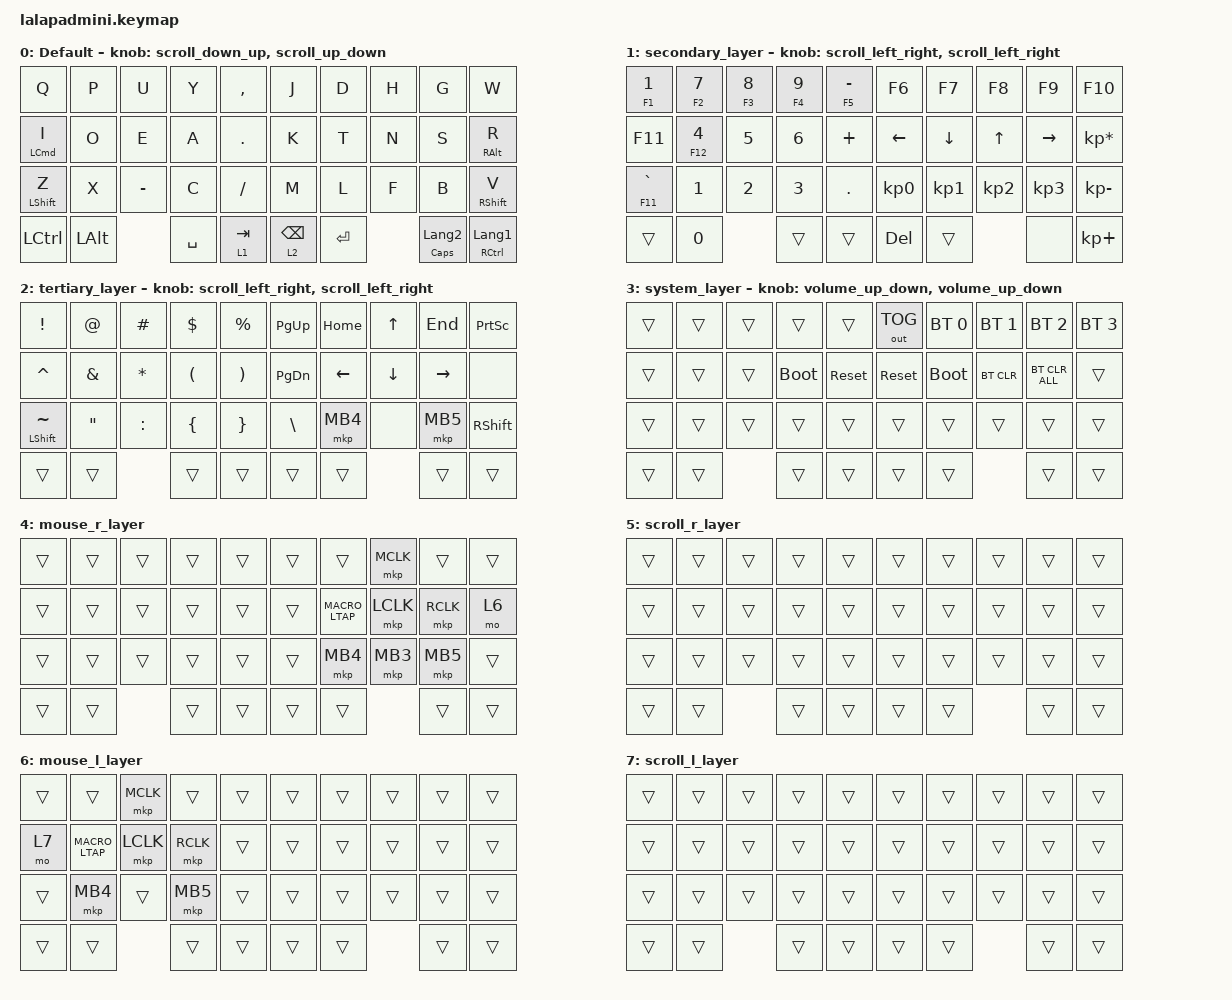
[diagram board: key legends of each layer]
#include <input/processors.dtsi>
#include <behaviors.dtsi>
#include <dt-bindings/zmk/bt.h>
#include <dt-bindings/zmk/keys.h>
#include <dt-bindings/zmk/outputs.h>
#include <dt-bindings/zmk/pointing.h>

#define DEFAULT_LAYER   0
#define SECONDARY_LAYER 1
#define TERTIARY_LAYER  2
#define SYSTEM_LAYER    3
#define MOUSE_R_LAYER   4
#define SCROLL_R_LAYER  5
#define MOUSE_L_LAYER   6
#define SCROLL_L_LAYER  7

// Mouse Scroll Value

#define ZMK_POINTING_DEFAULT_SCRL_VAL 100

// cirque trackpad input&layer control

&glidepoint_listener_R {
    input-processors =
        <&zip_xy_transform (INPUT_TRANSFORM_XY_SWAP | INPUT_TRANSFORM_X_INVERT | INPUT_TRANSFORM_Y_INVERT)>,
        <&zip_xy_scaler 4 2>,
        <&zip_temp_layer MOUSE_R_LAYER 300>;

    lowspeedmode {
        layers = <SECONDARY_LAYER>;
        input-processors =
            <&zip_xy_transform (INPUT_TRANSFORM_XY_SWAP | INPUT_TRANSFORM_X_INVERT | INPUT_TRANSFORM_Y_INVERT)>,
            <&zip_xy_scaler 3 5>,
            <&zip_temp_layer MOUSE_R_LAYER 300>;
    };

    scroller {
        layers = <SCROLL_R_LAYER>;
        input-processors =
            <&zip_xy_to_scroll_mapper>,
            <&zip_scroll_transform (INPUT_TRANSFORM_XY_SWAP | INPUT_TRANSFORM_Y_INVERT)>,
            <&zip_scroll_scaler 1 32>;
    };
};

&glidepoint_listener_L {
    input-processors =
        <&zip_xy_transform (INPUT_TRANSFORM_XY_SWAP | INPUT_TRANSFORM_X_INVERT | INPUT_TRANSFORM_Y_INVERT)>,
        <&zip_xy_scaler 3 2>,
        <&zip_temp_layer MOUSE_L_LAYER 300>;

    lowspeedmode {
        layers = <TERTIARY_LAYER>;
        input-processors =
            <&zip_xy_transform (INPUT_TRANSFORM_XY_SWAP | INPUT_TRANSFORM_X_INVERT | INPUT_TRANSFORM_Y_INVERT)>,
            <&zip_xy_scaler 3 4>,
            <&zip_temp_layer MOUSE_L_LAYER 300>;
    };

    scroller {
        layers = <SCROLL_L_LAYER>;
        input-processors =
            <&zip_xy_to_scroll_mapper>,
            <&zip_scroll_transform (INPUT_TRANSFORM_XY_SWAP | INPUT_TRANSFORM_Y_INVERT)>,
            <&zip_scroll_scaler 1 32>;
    };
};

&mt { 
    quick-tap-ms = <200>;
    tapping-term-ms = <400>;
};

&lt { quick-tap-ms = <200>; };

/ {
    behaviors {
        // Encoder to Mouse Scroll

        scroll_up_down: behavior_sensor_rotate_mouse_wheel_up_down {
            compatible = "zmk,behavior-sensor-rotate";
            #sensor-binding-cells = <0>;
            bindings = <&msc SCRL_UP>, <&msc SCRL_DOWN>;

            tap-ms = <20>;
        };

        scroll_down_up: behavior_sensor_rotate_mouse_wheel_down_up {
            compatible = "zmk,behavior-sensor-rotate";
            #sensor-binding-cells = <0>;
            bindings = <&msc SCRL_DOWN>, <&msc SCRL_UP>;

            tap-ms = <20>;
        };

        scroll_left_right: behavior_sensor_rotate_mouse_wheel_left_right {
            compatible = "zmk,behavior-sensor-rotate";
            #sensor-binding-cells = <0>;
            bindings = <&msc SCRL_LEFT>, <&msc SCRL_RIGHT>;

            tap-ms = <20>;
        };

        scroll_right_left: behavior_sensor_rotate_mouse_wheel_right_left {
            compatible = "zmk,behavior-sensor-rotate";
            #sensor-binding-cells = <0>;
            bindings = <&msc SCRL_RIGHT>, <&msc SCRL_LEFT>;

            tap-ms = <20>;
        };

        volume_up_down: behavior_sensor_rotate_volume_up_down {
            compatible = "zmk,behavior-sensor-rotate";
            #sensor-binding-cells = <0>;
            bindings = <&kp C_VOLUME_UP>, <&kp C_VOLUME_DOWN>;

            tap-ms = <20>;
        };

        mt2: mod_tap2 {
            compatible = "zmk,behavior-hold-tap";
            #binding-cells = <2>;
            flavor = "tap-preferred";
            tapping-term-ms = <400>;
            quick-tap-ms = <200>;
            require-prior-idle-ms = <125>;
            bindings = <&kp>, <&kp>;
        };

        tap_dance_layer_1and2: tap_dance_layer_1and2 {
            compatible = "zmk,behavior-tap-dance";
            label = "td_mo12";
            #binding-cells = <0>;
            bindings = <&mo 1>, <&mo 2>;
        };
    };

    combos {
        compatible = "zmk,combos";

        CONBO_ESC {
            bindings = <&kp ESCAPE>;
            key-positions = <0 1>;
        };

        COMBO_TAB {
            bindings = <&kp TAB>;
            key-positions = <10 11>;
        };

        COMBO_WIN {
            bindings = <&kp LWIN>;
            key-positions = <30 31>;
        };
    };

    macros {
        MACRO_LTAP: MACRO_LTAP {
            compatible = "zmk,behavior-macro";
            #binding-cells = <0>;
            bindings = <&mkp LCLK>;
            label = "MACRO_LTAP";
        };
    };

    keymap {
        compatible = "zmk,keymap";

        DEFAULT_LAYER {
            display-name = "Default";
            sensor-bindings = <&scroll_down_up>, <&scroll_up_down>;

            bindings = <
&kp Q               &kp P         &kp U      &kp Y      &kp COMMA   &kp J            &kp D      &kp H  &kp G                    &kp W
&mt LEFT_COMMAND I  &kp O         &kp E      &kp A      &kp PERIOD  &kp K            &kp T      &kp N  &kp S                    &mt2 RIGHT_ALT R
&mt LEFT_SHIFT Z    &kp X         &kp MINUS  &kp C      &kp SLASH   &kp M            &kp L      &kp F  &kp B                    &mt RSHIFT V
&kp LCTRL           &kp LEFT_ALT             &kp SPACE  &lt 1 TAB   &lt 2 BACKSPACE  &kp ENTER         &mt CAPSLOCK LANGUAGE_2  &mt RCTRL LANGUAGE_1
            >;
        };

        SECONDARY_LAYER {
            display-name = "secondary_layer";
            sensor-bindings = <&scroll_left_right>, <&scroll_left_right>;

            bindings = <
&mt2 F1 NUMBER_1  &mt2 F2 NUMBER_7   &mt2 F3 NUMBER_8  &mt2 F4 NUMBER_9  &mt F5 MINUS  &kp F6           &kp F7           &kp F8           &kp F9           &kp F10
&kp F11           &mt2 F12 NUMBER_4  &kp N5            &kp NUMBER_6      &kp PLUS      &kp LEFT         &kp DOWN         &kp UP_ARROW     &kp RIGHT        &kp KP_ASTERISK
&mt2 F11 GRAVE    &kp NUMBER_1       &kp NUMBER_2      &kp NUMBER_3      &kp PERIOD    &kp KP_NUMBER_0  &kp KP_NUMBER_1  &kp KP_NUMBER_2  &kp KP_NUMBER_3  &kp KP_MINUS
&trans            &kp NUMBER_0                         &trans            &trans        &kp DELETE       &trans                            &none            &kp KP_PLUS
            >;
        };

        TERTIARY_LAYER {
            display-name = "tertiary_layer";
            bindings = <
&kp EXCLAMATION       &kp AT_SIGN        &kp HASH      &kp DOLLAR            &kp PERCENT            &kp PAGE_UP    &kp HOME  &kp UP_ARROW  &kp END    &kp PRINTSCREEN
&kp CARET             &kp AMPERSAND      &kp ASTERISK  &kp LEFT_PARENTHESIS  &kp RIGHT_PARENTHESIS  &kp PAGE_DOWN  &kp LEFT  &kp DOWN      &kp RIGHT  &none
&mt LEFT_SHIFT TILDE  &kp DOUBLE_QUOTES  &kp COLON     &kp LEFT_BRACE        &kp RIGHT_BRACE        &kp BACKSLASH  &mkp MB4  &none         &mkp MB5   &kp RIGHT_SHIFT
&trans                &trans                           &trans                &trans                 &trans         &trans                  &trans     &trans
            >;

            sensor-bindings = <&scroll_left_right>, <&scroll_left_right>;
        };

        SYSTEM_LAYER {
            display-name = "system_layer";
            sensor-bindings = <&volume_up_down>, <&volume_up_down>;

            bindings = <
&trans  &trans  &trans  &trans       &trans      &out OUT_TOG  &bt BT_SEL 0  &bt BT_SEL 1  &bt BT_SEL 2    &bt BT_SEL 3
&trans  &trans  &trans  &bootloader  &sys_reset  &sys_reset    &bootloader   &bt BT_CLR    &bt BT_CLR_ALL  &trans
&trans  &trans  &trans  &trans       &trans      &trans        &trans        &trans        &trans          &trans
&trans  &trans          &trans       &trans      &trans        &trans                      &trans          &trans
            >;
        };

        MOUSE_R_LAYER {
            display-name = "mouse_r_layer";
            bindings = <
&trans  &trans  &trans  &trans  &trans  &trans  &trans       &mkp MCLK  &trans     &trans
&trans  &trans  &trans  &trans  &trans  &trans  &MACRO_LTAP  &mkp LCLK  &mkp RCLK  &mo 6
&trans  &trans  &trans  &trans  &trans  &trans  &mkp MB4     &mkp MB3   &mkp MB5   &trans
&trans  &trans          &trans  &trans  &trans  &trans                  &trans     &trans
            >;
        };

        SCROLL_R_LAYER {
            display-name = "scroll_r_layer";
            bindings = <
&trans  &trans  &trans  &trans  &trans  &trans  &trans  &trans  &trans  &trans
&trans  &trans  &trans  &trans  &trans  &trans  &trans  &trans  &trans  &trans
&trans  &trans  &trans  &trans  &trans  &trans  &trans  &trans  &trans  &trans
&trans  &trans          &trans  &trans  &trans  &trans          &trans  &trans
            >;
        };

        MOUSE_L_LAYER {
            display-name = "mouse_l_layer";
            bindings = <
&trans  &trans       &mkp MCLK  &trans     &trans  &trans  &trans  &trans  &trans  &trans
&mo 7   &MACRO_LTAP  &mkp LCLK  &mkp RCLK  &trans  &trans  &trans  &trans  &trans  &trans
&trans  &mkp MB4     &trans     &mkp MB5   &trans  &trans  &trans  &trans  &trans  &trans
&trans  &trans                  &trans     &trans  &trans  &trans          &trans  &trans
            >;
        };

        SCROLL_L_LAYER {
            display-name = "scroll_l_layer";
            bindings = <
&trans  &trans  &trans  &trans  &trans  &trans  &trans  &trans  &trans  &trans
&trans  &trans  &trans  &trans  &trans  &trans  &trans  &trans  &trans  &trans
&trans  &trans  &trans  &trans  &trans  &trans  &trans  &trans  &trans  &trans
&trans  &trans          &trans  &trans  &trans  &trans          &trans  &trans
            >;
        };
    };

    conditional_layers {
        compatible = "zmk,conditional-layers";

        System_layer {
            if-layers = <1 2>;
            then-layer = <3>;
        };
    };
};
